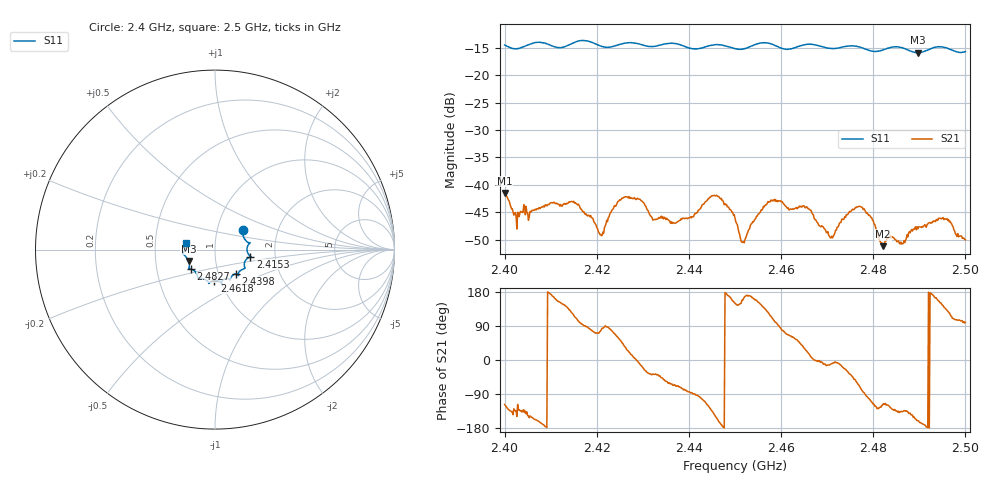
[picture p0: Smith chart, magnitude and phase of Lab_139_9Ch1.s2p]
# Hz S RI R 50
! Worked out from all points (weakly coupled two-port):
!   601 points, 2.4 GHz to 2.5 GHz, reference 50 ohm
!   highest |S21| = -41.50 dB at 2.4 GHz (marker M1); lowest = -51.2 dB at 2.4822 GHz (marker M2)
!   lowest |S11| = -15.9 dB at 2.4897 GHz (marker M3), VSWR 1.38, Z = 36.9 - j4.82 ohm
!   |S11| at or under -10 dB: start of sweep to end of sweep
!   S12 and S22 are empty: the file has one direction only
!   S11 on the Smith chart (normalised r, x): 2.4 GHz: 1.33, +0.29; 2.4153 GHz: 1.48, -0.12; 2.4398 GHz: 1.21, -0.34; 2.4618 GHz: 0.94, -0.33; 2.4827 GHz: 0.75, -0.17; 2.5 GHz: 0.72, +0.06
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2.4e9  0.1554 0.1066  -0.00387 -0.00747  0 0  0 0
2.402667e9  0.1614 0.0646  -0.00338 -0.00204  0 0  0 0
2.415333e9  0.1967 -0.0391  -0.00261 0.00636  0 0  0 0
2.416667e9  0.2025 -0.0432  -0.000517 0.00596  0 0  0 0
2.421e9  0.1756 -0.0533  0.000557 0.00339  0 0  0 0
2.426e9  0.1671 -0.1018  0.0062 0.0046  0 0  0 0
2.433333e9  0.1296 -0.134  0.00382 -0.00312  0 0  0 0
2.439833e9  0.1152 -0.1357  0.000556 -0.00492  0 0  0 0
2.4455e9  0.0839 -0.1697  -0.0064 -0.00481  0 0  0 0
2.45e9  0.0654 -0.1619  -0.00433 0.00246  0 0  0 0
2.451833e9  0.0463 -0.1673  -0.00286 0.000942  0 0  0 0
2.4575e9  0.0387 -0.1912  -0.00347 0.00611  0 0  0 0
2.461833e9  -0.00334 -0.1729  0.00254 0.00533  0 0  0 0
2.466667e9  -0.0348 -0.1882  0.00554 0.000561  0 0  0 0
2.471e9  -0.0585 -0.1647  0.00334 -0.000556  0 0  0 0
2.477167e9  -0.097 -0.1518  0.00191 -0.00602  0 0  0 0
2.482167e9  -0.1302 -0.1097  -0.0012 -0.00248  0 0  0 0
2.482667e9  -0.1348 -0.1088  -0.00127 -0.00278  0 0  0 0
2.483333e9  -0.1402 -0.1082  -0.00167 -0.00288  0 0  0 0
2.489667e9  -0.1469 -0.0636  -0.00371 -0.00137  0 0  0 0
2.4955e9  -0.1785 -0.0177  -0.00364 0.00325  0 0  0 0
2.5e9  -0.1595 0.0386  -0.000504 0.0031  0 0  0 0
